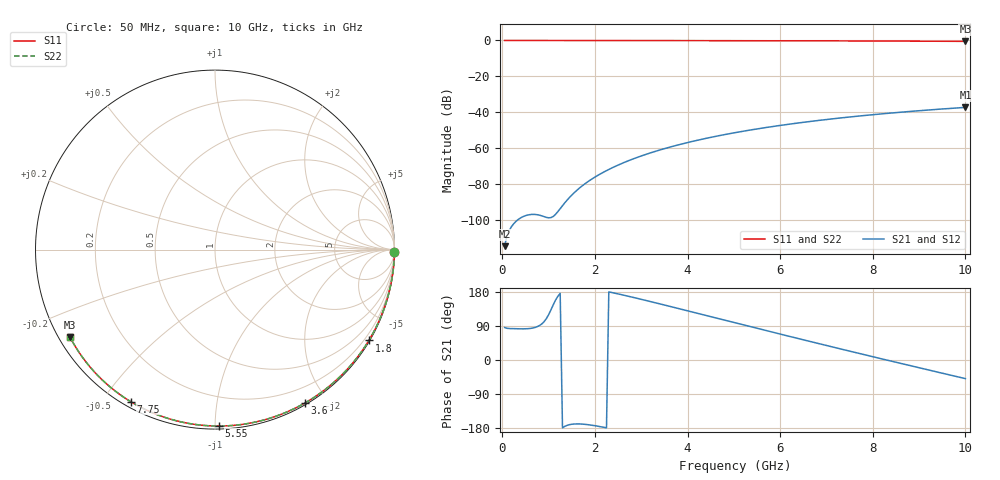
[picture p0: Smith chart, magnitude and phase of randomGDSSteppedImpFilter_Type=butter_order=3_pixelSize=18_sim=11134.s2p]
! freq	dB(S11)	phase(S11)	dB(S12)	phase(S12)
!  dB(S21)	phase(S21)	dB(S22)	phase(S22)
!S-par simulation data
#  GHz  S  DB  R 50
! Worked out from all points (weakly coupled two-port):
!   200 points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, 50 MHz to 10 GHz, reference 50 ohm
!   highest |S21| = -37.18 dB at 10 GHz (marker M1); lowest = -114.3 dB at 50 MHz (marker M2)
!   lowest |S11| = -0.5 dB at 10 GHz (marker M3), VSWR 34.55, Z = 1.56 - j14 ohm
!   |S11| at or under -10 dB: nowhere
!   |S22| runs from -0.5 to 0.0 dB; largest |S21 - S12| = 0
!   S11 on the Smith chart (normalised r, x): 50 MHz: open; 1.8 GHz: 0.03, -3.66; 3.6 GHz: 0.02, -1.75; 5.55 GHz: 0.02, -1.02; 7.75 GHz: 0.02, -0.59; 10 GHz: 0.03, -0.28
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0.05  -0.00 -0.9  -114.27 85.7  -114.27 85.7  -0.00 -0.9
0.45  -0.01 -7.8  -97.83 82.2  -97.83 82.2  -0.01 -7.8
0.9  -0.02 -15.4  -97.84 100.8  -97.84 100.8  -0.02 -15.4
1.3  -0.03 -22.2  -91.77 -178.9  -91.77 -178.9  -0.03 -22.2
1.75  -0.04 -29.7  -80.28 -169.4  -80.28 -169.4  -0.04 -29.7
1.8  -0.04 -30.6  -79.32 -170.0  -79.32 -170.0  -0.04 -30.6
1.95  -0.04 -33.1  -76.70 -172.4  -76.70 -172.4  -0.04 -33.1
2.1  -0.05 -35.5  -74.39 -175.5  -74.39 -175.5  -0.05 -35.5
2.3  -0.05 -38.8  -71.65 179.7  -71.65 179.7  -0.05 -38.8
2.5  -0.05 -42.1  -69.23 174.4  -69.23 174.4  -0.05 -42.1
2.9  -0.06 -48.5  -65.08 163.1  -65.08 163.1  -0.06 -48.5
3.4  -0.08 -56.5  -60.85 148.2  -60.85 148.2  -0.08 -56.5
3.6  -0.08 -59.6  -59.37 142.1  -59.37 142.1  -0.08 -59.6
4.3  -0.10 -70.3  -54.93 120.6  -54.93 120.6  -0.10 -70.3
5.05  -0.13 -81.5  -51.10 97.5  -51.10 97.5  -0.13 -81.5
5.55  -0.15 -88.7  -48.94 82.2  -48.94 82.2  -0.15 -88.7
6.1  -0.17 -96.5  -46.84 65.4  -46.84 65.4  -0.17 -96.5
6.7  -0.20 -104.8  -44.83 47.3  -44.83 47.3  -0.20 -104.8
7.75  -0.28 -119.0  -41.86 16.0  -41.86 16.0  -0.28 -119.0
8.35  -0.33 -127.0  -40.42 -1.6  -40.42 -1.6  -0.33 -127.0
9.2  -0.41 -138.2  -38.63 -26.2  -38.63 -26.2  -0.41 -138.2
10  -0.50 -148.8  -37.18 -49.2  -37.18 -49.2  -0.50 -148.8
